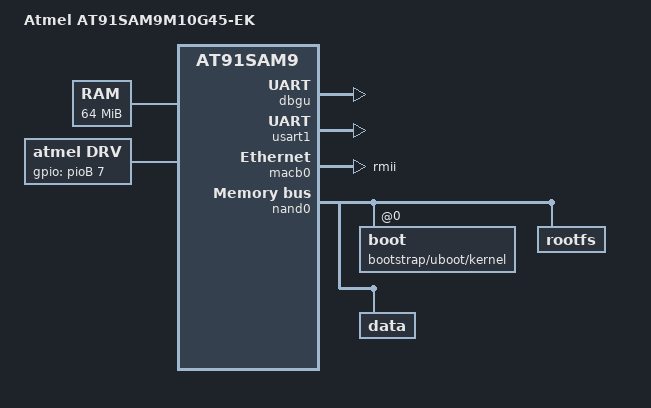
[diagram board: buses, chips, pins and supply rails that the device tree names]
/*
 * at91sam9m10g45ek.dts - Device Tree file for AT91SAM9M10G45-EK board
 *
 *  Copyright (C) 2011 Atmel,
 *                2011 Nicolas Ferre <nicolas.ferre@atmel.com>
 *
 * Licensed under GPLv2 or later.
 */
/dts-v1/;
/include/ "at91sam9g45.dtsi"

/ {
	model = "Atmel AT91SAM9M10G45-EK";
	compatible = "atmel,at91sam9m10g45ek", "atmel,at91sam9g45", "atmel,at91sam9";

	chosen {
		bootargs = "mem=64M console=ttyS0,115200 root=/dev/mtdblock1 rw rootfstype=jffs2";
	};

	memory@70000000 {
		reg = <0x70000000 0x4000000>;
	};

	ahb {
		apb {
			dbgu: serial@ffffee00 {
				status = "okay";
			};

			usart1: serial@fff90000 {
				status = "okay";
			};

			macb0: ethernet@fffbc000 {
				phy-mode = "rmii";
				status = "okay";
			};

			nand0: nand@40000000 {
				status = "okay";

				boot@0 {
					label = "bootstrap/uboot/kernel";
					reg = <0x0 0x400000>;
				};

				rootfs@400000 {
					label = "rootfs";
					reg = <0x400000 0x3C00000>;
				};

				data@4000000 {
					label = "data";
					reg = <0x4000000 0xC000000>;
				};

			};
		};
	};

	drv {
		compatible = "atmel,drv";
		gpios = <&pioB 7 0>;
	};

};
